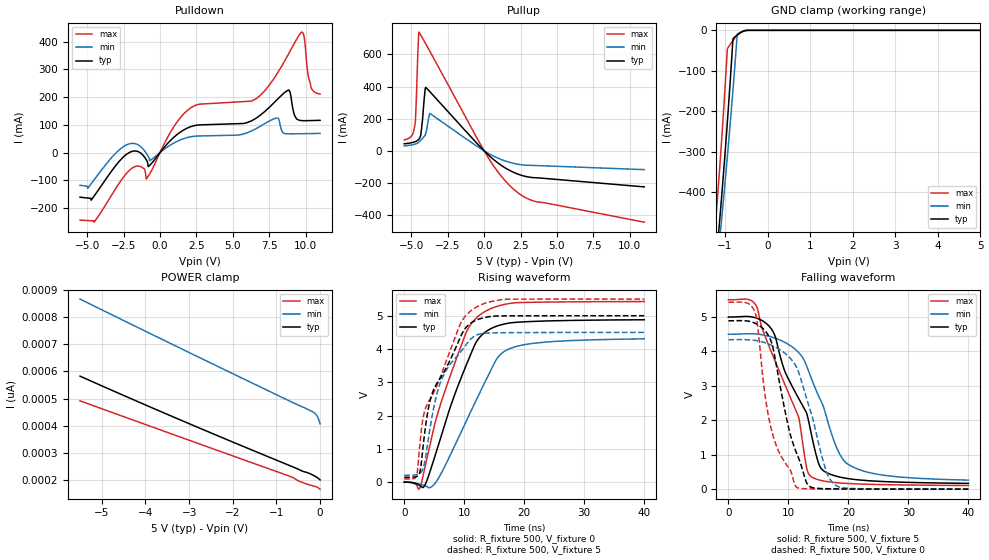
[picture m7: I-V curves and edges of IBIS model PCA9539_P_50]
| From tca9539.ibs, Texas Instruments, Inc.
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[Model]   PCA9539_P_50
Model_type  I/O
Vinl=1.35
Vinh=3.85
Enable   Active-Low
Vref =   5V
Rref =   1k
Cref =   50p
Vmeas =   2.5
| variable   typ   min   max
C_comp   5.26pF   3.57pF   9.96pF
| C_pullup   10.27pF   5.19pF   16.78pF
| C_pulldown   3.97pF   3.22pF   5.97pF
| C_tri-state   5.26pF   3.57pF   9.96pF
[Temperature Range]   40   100   -40
| Ambient temperature   25   85   -40
[Voltage range]   5   4.5   5.5
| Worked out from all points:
|   slope of the pulldown table from 0 to 0.75 V, typ, clamps not added: 16.6 ohm
|   slope of the pullup table from 0 to 0.75 V, typ, clamps not added: 12.2 ohm
|   GND clamp passes 1 mA (typ) near -0.53 V on its own axis
|   rising waveform, R_fixture 500, V_fixture 0: 20-80 % time 5.77ns typ, 6.85ns min, 5.74ns max; typ from 0 V to 4.88 V
|   falling waveform, R_fixture 500, V_fixture 5: 20-80 % time 6.04ns typ, 5.41ns min, 6.35ns max; typ from 5 V to 0.169 V
|   rising waveform, R_fixture 500, V_fixture 5: 20-80 % time 5.39ns typ, 4.29ns min, 5.99ns max; typ from 0.145 V to 5 V
|   falling waveform, R_fixture 500, V_fixture 0: 20-80 % time 3.86ns typ, 4.17ns min, 3.29ns max; typ from 4.89 V to 0.001 V
[GND Clamp]
| PCA9539_P_50
|   Voltage   I(typ)   I(min)   I(max)
-5.5V     -2.659A    -2.671A    -2.55A
-1.25V    -620.9mA   -649.9mA   -515.2mA
-1.215V   -580.7mA   -614.3mA   -469.4mA
-1.14V    -490.9mA   -535.7mA   -365.6mA
-1.105V   -447.3mA   -497.9mA   -314.2mA
-1.085V   -421.8mA   -476mA     -283.9mA
-1.02V    -335.9mA   -403.1mA   -180.3mA
-945mV    -230.4mA   -315.4mA   -49.25mA
-810mV    -21.17mA   -146.1mA   -25.59mA
-710mV    -11.45mA   -9.703mA   -12.46mA
-575mV    -2.573mA   -2.443mA   -1.831mA
5V        200.9pA    476.3pA    136.3pA
[POWER Clamp]
| PCA9539_P_50
|   Voltage   I(typ)   I(min)   I(max)
-5.5V     582.7pA    866.5pA    491.9pA
-3.195V   421.2pA    684.9pA    358.1pA
-720mV    255.2pA    492.9pA    215.8pA
-620mV    248.5pA    485.2pA    209.3pA
-460mV    237.2pA    473.5pA    194.6pA
-205mV    221.8pA    454.4pA    180.7pA
-125mV    215.3pA    446.6pA    177.1pA
-80mV     211.1pA    439pA      174.8pA
-40mV     206.5pA    426.4pA    171.8pA
-95.1fV   200.9pA    407pA      166.8pA
[Pulldown]
| PCA9539_P_50
|   Voltage   I(typ)   I(min)   I(max)
-5.5V     -161.3mA   -118.2mA   -244mA
-4.53V    -157.1mA   -98.37mA   -251.4mA
-2.09V    700uA      31.71mA    -63.39mA
-810mV    -51.16mA   -14.18mA   -85.28mA
1.86V     87.86mA    53.74mA    151.1mA
6.5V      120.4mA    83.16mA    190.6mA
8.07V     192mA      124.3mA    286.3mA
8.805V    224.8mA    67.3mA     353mA
9.715V    115.2mA    67.82mA    434.4mA
9.91V     114.8mA    67.97mA    415.8mA
10.38V    115.3mA    68.36mA    235.3mA
11V       116.1mA    68.89mA    210.6mA
[Pullup]
| PCA9539_P_50
|   Voltage   I(typ)   I(min)   I(max)
-5.5V     44.69mA    31.56mA    68.44mA
-4.965V   51.88mA    38.04mA    96.98mA
-4.755V   57.61mA    42.62mA    167.1mA
-4.54V    68.59mA    51.23mA    659.1mA
-4.485V   73.46mA    55.14mA    739.4mA
-4.345V   110mA      67.68mA    718.2mA
-4.025V   395.4mA    106.6mA    666.9mA
-3.74V    368.8mA    232.6mA    620.1mA
215mV     -18.98mA   -11.6mA    -32.74mA
2.1V      -136.4mA   -78.84mA   -244.4mA
3.52V     -166.7mA   -90.61mA   -314.5mA
11V       -223.6mA   -116.2mA   -443.2mA
[Ramp]
| PCA9539_P_50
| variable   typ   min   max
dV/dt_r   3.02/5.92E-09   2.68/7.11E-09   3.38/5.86E-09
dV/dt_f   2.91/6.05E-09   2.55/5.43E-09   3.25/6.38E-09
R_load = 500
[Rising Waveform]
| PCA9539_P_50
R_fixture =   500
C_fixture =   0
L_fixture =   0
V_fixture =   0
V_fixture_min = 0
V_fixture_max = 0
|   Time   V(typ)   V(min)   V(max)
0s        1.669nV    3.101nV    1.088nV
2.47ns    -88.81mV   -56.47mV   -210.5mV
3.46ns    -87.73mV   -106.1mV   451.7mV
5.215ns   833.5mV    -17.69mV   1.827V
8.355ns   2.599V     1.072V     3.54V
10.56ns   3.611V     1.916V     4.582V
12.66ns   4.37V      2.713V     5.03V
15.57ns   4.696V     3.739V     5.287V
18.15ns   4.793V     4.048V     5.383V
40ns      4.878V     4.305V     5.425V
[Falling Waveform]
| PCA9539_P_50
R_fixture =   500
C_fixture =   0
L_fixture =   0
V_fixture =   5
V_fixture_min = 4.5
V_fixture_max = 5.5
|   Time   V(typ)   V(min)   V(max)
0s        5V         4.5V       5.5V
4.705ns   4.967V     4.507V     5.302V
7.59ns    4.526V     4.397V     3.802V
11.66ns   2.651V     3.978V     2.117V
13.05ns   2.2V       3.577V     620.6mV
13.76ns   1.649V     3.246V     368.6mV
15.48ns   594.7mV    2.538V     252.3mV
18.08ns   372mV      1.186V     188.7mV
20ns      305.8mV    716.6mV    165.4mV
40ns      169.2mV    262.9mV    107.2mV
[Rising Waveform]
| PCA9539_P_50
R_fixture =   500
C_fixture =   0
L_fixture =   0
V_fixture =   5
V_fixture_min = 4.5
V_fixture_max = 5.5
|   Time   V(typ)   V(min)   V(max)
0s        144.8mV    205.4mV    95.96mV
2.03ns    164.3mV    220.3mV    173.6mV
2.625ns   311.1mV    261.1mV    1.166V
2.99ns    811.4mV    346.6mV    1.759V
4.265ns   2.412V     1.58V      2.48V
6.06ns    3.135V     3.004V     3.181V
9.305ns   4.331V     3.887V     4.733V
11.22ns   4.792V     4.324V     5.163V
16.86ns   4.995V     4.489V     5.494V
40ns      4.999V     4.499V     5.5V
[Falling Waveform]
| PCA9539_P_50
R_fixture =   500
C_fixture =   0
L_fixture =   0
V_fixture =   0
V_fixture_min = 0
V_fixture_max = 0
|   Time   V(typ)   V(min)   V(max)
0s        4.891V     4.341V     5.43V
4.465ns   4.819V     4.321V     5.123V
6.82ns    4.415V     4.208V     1.994V
8.15ns    3.442V     4.097V     1.19V
10.05ns   1.768V     3.847V     623.5mV
11.36ns   1.046V     3.538V     55.39mV
13.39ns   98.39mV    2.429V     9.881mV
16.28ns   13.79mV    535.9mV    4.686mV
17.83ns   8.967mV    118.8mV    3.599mV
40ns      957uV      1.856mV    497.1uV
